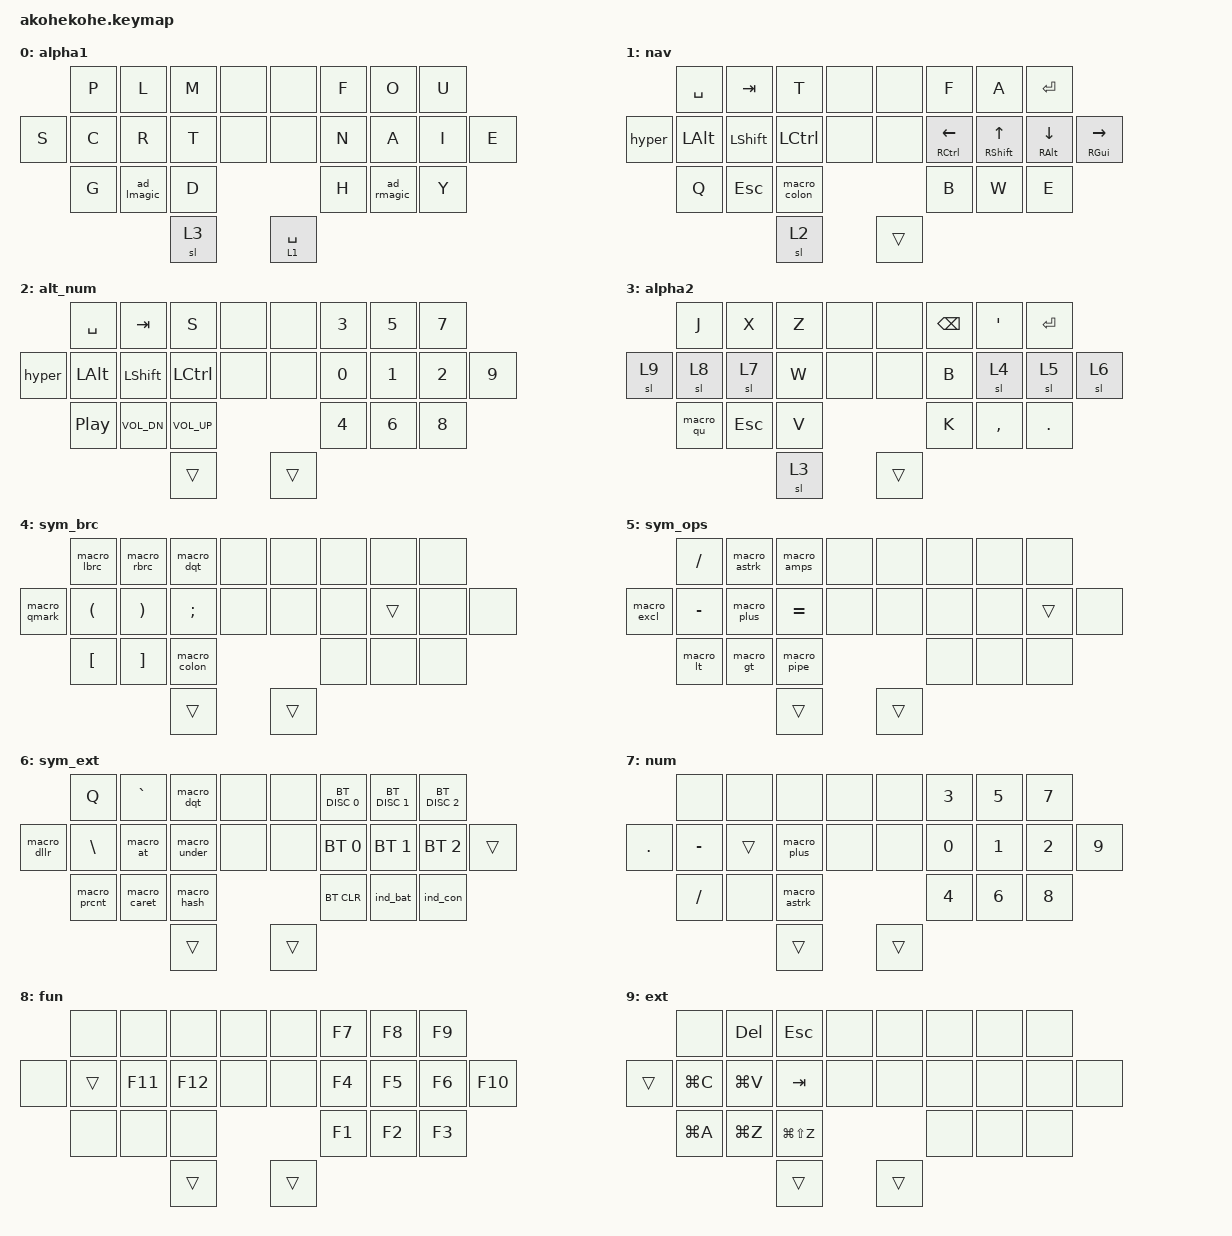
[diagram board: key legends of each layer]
/*
 * Copyright (c) 2024 The ZMK Contributors
 *
 * SPDX-License-Identifier: MIT
 */

#include <behaviors.dtsi>
#include <dt-bindings/zmk/bt.h>
#include <dt-bindings/zmk/keys.h>
#include <dt-bindings/zmk/outputs.h>
#include <behaviors/rgbled_widget.dtsi>

&soft_off { hold-time-ms = <1000>; };
&sl { release-after-ms = <350>; };
&sk { release-after-ms = <350>; quick-release; };
&caps_word { continue-list = <UNDER MINUS BSPC DEL>; };

/ {
    combos {
        compatible = "zmk,combos";
        timeout-ms = <50>;

        lbspc {
            key-positions = <11 20>;
            bindings = <&kp BSPC>;
        };

        lent {
            key-positions = <10 19>;
            bindings = <&kp ENTER>;
        };

        lgui {
            key-positions = <9 18>;
            bindings = <&kp LGUI>;
        };

        lalt {
            key-positions = <0 9>;
            bindings = <&sk LALT>;
        };

        lsft {
            key-positions = <1 10>;
            bindings = <&sk LSHFT>;
        };

        lctl {
            key-positions = <2 11>;
            bindings = <&sk LCTRL>;
        };

        rctl {
            key-positions = <5 14>;
            bindings = <&sk RCTRL>;
        };

        rsft {
            key-positions = <6 15>;
            bindings = <&sk RSHFT>;
        };

        ralt {
            key-positions = <7 16>;
            bindings = <&sk RALT>;
        };

        rgui {
            key-positions = <16 23>;
            bindings = <&kp RGUI>;
        };

        rent {
            key-positions = <15 22>;
            bindings = <&kp ENTER>;
        };

        rbspc {
            key-positions = <14 21>;
            bindings = <&kp BSPC>;
        };

        capsword {
            key-positions = <10 11 14 15>;
            bindings = <&caps_word>;
        };

        boot {
            key-positions = <0 2 5 7>;
            bindings = <&bootloader>;
        };

        soft_off {
            key-positions = <18 20 21 23>;
            bindings = <&soft_off>;
        };

        alt_num {
            key-positions = <24 25>;
            bindings = <&sl 2>;
            slow-release;
        };
    };

    macros {
        macro_qu: qu {
            compatible = "zmk,behavior-macro";
            #binding-cells = <0>;
            bindings = <&kp Q &kp U>;
        };

        macro_able: able {
            compatible = "zmk,behavior-macro";
            #binding-cells = <0>;
            bindings = <&kp B &kp L &kp E>;
        };

        macro_ion: ion {
            compatible = "zmk,behavior-macro";
            #binding-cells = <0>;
            bindings = <&kp O &kp N>;
        };

        macro_ing: ing {
            compatible = "zmk,behavior-macro";
            #binding-cells = <0>;
            bindings = <&kp N &kp G>;
        };

        macro_you: you {
            compatible = "zmk,behavior-macro";
            #binding-cells = <0>;
            bindings = <&kp O &kp U>;
        };

        macro_ying: ying {
            compatible = "zmk,behavior-macro";
            #binding-cells = <0>;
            bindings = <&kp I &kp N &kp G>;
        };

        macro_would: would {
            compatible = "zmk,behavior-macro";
            #binding-cells = <0>;
            bindings = <&kp O &kp U &kp L &kp D>;
        };

        macro_the: _the {
            compatible = "zmk,behavior-macro";
            #binding-cells = <0>;
            bindings = <&kp T &kp H &kp E>;
        };

        macro_for: _for {
            compatible = "zmk,behavior-macro";
            #binding-cells = <0>;
            bindings = <&kp F &kp O &kp R>;
        };

        hyper: hyper_mods {
            compatible = "zmk,behavior-macro";
            #binding-cells = <0>;
            bindings =
                <&macro_press &kp RCTRL &kp RSHFT &kp RALT &kp RGUI>,
                <&macro_pause_for_release>,
                <&macro_release &kp RGUI &kp RALT &kp RSHFT &kp RCTRL>;
        };

        macro_colon: colon {
            compatible = "zmk,behavior-macro";
            #binding-cells = <0>;
            bindings =
                <&macro_press &kp LSHFT>,
                <&macro_tap &kp SEMI>,
                <&macro_release &kp LSHFT>;
        };

        macro_qmark: qmark {
            compatible = "zmk,behavior-macro";
            #binding-cells = <0>;
            bindings =
                <&macro_press &kp LSHFT>,
                <&macro_tap &kp SLASH>,
                <&macro_release &kp LSHFT>;
        };

        macro_excl: excl {
            compatible = "zmk,behavior-macro";
            #binding-cells = <0>;
            bindings =
                <&macro_press &kp LSHFT>,
                <&macro_tap &kp N1>,
                <&macro_release &kp LSHFT>;
        };

        macro_dqt: dqt {
            compatible = "zmk,behavior-macro";
            #binding-cells = <0>;
            bindings =
                <&macro_press &kp LSHFT>,
                <&macro_tap &kp SQT>,
                <&macro_release &kp LSHFT>;
        };

        macro_astrk: astrk {
            compatible = "zmk,behavior-macro";
            #binding-cells = <0>;
            bindings =
                <&macro_press &kp LSHFT>,
                <&macro_tap &kp N8>,
                <&macro_release &kp LSHFT>;
        };

        macro_amps: amps {
            compatible = "zmk,behavior-macro";
            #binding-cells = <0>;
            bindings =
                <&macro_press &kp LSHFT>,
                <&macro_tap &kp N7>,
                <&macro_release &kp LSHFT>;
        };

        macro_plus: plus {
            compatible = "zmk,behavior-macro";
            #binding-cells = <0>;
            bindings =
                <&macro_press &kp LSHFT>,
                <&macro_tap &kp EQUAL>,
                <&macro_release &kp LSHFT>;
        };

        macro_lt: lt {
            compatible = "zmk,behavior-macro";
            #binding-cells = <0>;
            bindings =
                <&macro_press &kp LSHFT>,
                <&macro_tap &kp COMMA>,
                <&macro_release &kp LSHFT>;
        };

        macro_gt: gt {
            compatible = "zmk,behavior-macro";
            #binding-cells = <0>;
            bindings =
                <&macro_press &kp LSHFT>,
                <&macro_tap &kp DOT>,
                <&macro_release &kp LSHFT>;
        };

        macro_pipe: pipe {
            compatible = "zmk,behavior-macro";
            #binding-cells = <0>;
            bindings =
                <&macro_press &kp LSHFT>,
                <&macro_tap &kp BSLH>,
                <&macro_release &kp LSHFT>;
        };

        macro_dllr: dllr {
            compatible = "zmk,behavior-macro";
            #binding-cells = <0>;
            bindings =
                <&macro_press &kp LSHFT>,
                <&macro_tap &kp N4>,
                <&macro_release &kp LSHFT>;
        };

        macro_at: at {
            compatible = "zmk,behavior-macro";
            #binding-cells = <0>;
            bindings =
                <&macro_press &kp LSHFT>,
                <&macro_tap &kp N2>,
                <&macro_release &kp LSHFT>;
        };

        macro_under: under {
            compatible = "zmk,behavior-macro";
            #binding-cells = <0>;
            bindings =
                <&macro_press &kp LSHFT>,
                <&macro_tap &kp MINUS>,
                <&macro_release &kp LSHFT>;
        };

        macro_prcnt: prcnt {
            compatible = "zmk,behavior-macro";
            #binding-cells = <0>;
            bindings =
                <&macro_press &kp LSHFT>,
                <&macro_tap &kp N5>,
                <&macro_release &kp LSHFT>;
        };

        macro_caret: caret {
            compatible = "zmk,behavior-macro";
            #binding-cells = <0>;
            bindings =
                <&macro_press &kp LSHFT>,
                <&macro_tap &kp N6>,
                <&macro_release &kp LSHFT>;
        };

        macro_hash: hash {
            compatible = "zmk,behavior-macro";
            #binding-cells = <0>;
            bindings =
                <&macro_press &kp LSHFT>,
                <&macro_tap &kp N3>,
                <&macro_release &kp LSHFT>;
        };

        macro_lbrc: lbrc {
            compatible = "zmk,behavior-macro";
            #binding-cells = <0>;
            bindings =
                <&macro_press &kp LSHFT>,
                <&macro_tap &kp LBKT>,
                <&macro_release &kp LSHFT>;
        };

        macro_rbrc: rbrc {
            compatible = "zmk,behavior-macro";
            #binding-cells = <0>;
            bindings =
                <&macro_press &kp LSHFT>,
                <&macro_tap &kp RBKT>,
                <&macro_release &kp LSHFT>;
        };
    };

    behaviors {
        ad_lmagic: adaptive_magic_left {
            compatible = "zmk,behavior-antecedent-morph";
            #binding-cells = <0>;
            defaults = <&key_repeat>;
            antecedents = <A C K E D U Y I N SPACE>;
            bindings = <&macro_able>, <&kp K>, <&kp N>, <&kp Y>, <&kp M>, <&kp Y>, <&macro_ying>, <&macro_ion>, <&kp F>, <&macro_for>;
        };

        ad_rmagic: adaptive_magic_right {
            compatible = "zmk,behavior-antecedent-morph";
            #binding-cells = <0>;
            defaults = <&key_repeat>;
            antecedents = <DOT I Y R W SPACE>;
            bindings = <&kp SLASH>, <&macro_ing>, <&macro_you>, <&kp L>, <&macro_would>, <&macro_the>;
        };

        bmt: better_mod_tap {
            compatible = "zmk,behavior-hold-tap";
            #binding-cells = <2>;
            flavor = "hold-preferred";
            quick-tap-ms = <150>;
            tapping-term-ms = <200>;
            bindings = <&kp>, <&kp>;
            hold-trigger-key-positions = <0 1 2 8 9 10 11 18 19 20 24>;
            display-name = "Better Mod-Tap";
            require-prior-idle-ms = <200>;
        };

        blt: better_layer_tap {
            compatible = "zmk,behavior-hold-tap";
            #binding-cells = <2>;
            flavor = "tap-preferred";
            tapping-term-ms = <150>;
            bindings = <&mo>, <&kp>;
            display-name = "Better Layer-Tap";
        };
    };

    keymap {
        compatible = "zmk,keymap";

        alpha1 {
            bindings = <
                    &kp P           &kp L           &kp M           &none   &none           &kp F           &kp O           &kp U
        &kp S       &kp C           &kp R           &kp T           &none   &none           &kp N           &kp A           &kp I           &kp E
                    &kp G           &ad_lmagic      &kp D                                   &kp H           &ad_rmagic      &kp Y
                                                            &sl 3                   &blt 1 SPACE
            >;
        };

        nav {
            bindings = <
                    &kp SPACE       &kp TAB         &kp T           &none   &none           &kp F           &kp A           &kp ENTER
        &hyper      &kp LALT        &kp LSHIFT      &kp LCTRL       &none   &none           &bmt RCTRL LEFT &bmt RSHFT UP  &bmt RALT DOWN   &bmt RGUI RIGHT
                    &kp Q           &kp ESC         &macro_colon                            &kp B           &kp W           &kp E
                                                            &sl 2                   &trans
            >;
        };

        alt_num {
            bindings = <
                    &kp SPACE       &kp TAB         &kp S           &none   &none           &kp N3          &kp N5          &kp N7
        &hyper      &kp LALT        &kp LSHIFT      &kp LCTRL       &none   &none           &kp N0          &kp N1          &kp N2          &kp N9
                    &kp C_PP        &kp C_VOL_DN    &kp C_VOL_UP                            &kp N4          &kp N6          &kp N8
                                                            &trans                  &trans
            >;
        };

        alpha2 {
            bindings = <
                    &kp J           &kp X           &kp Z           &none   &none           &kp BSPC        &kp SQT         &kp ENTER
        &sl 9       &sl 8           &sl 7           &kp W           &none   &none           &kp B           &sl 4           &sl 5           &sl 6
                    &macro_qu       &kp ESC         &kp V                                   &kp K           &kp COMMA       &kp DOT
                                                            &sl 3                   &trans
            >;
        };

        sym_brc {
            bindings = <
                    &macro_lbrc     &macro_rbrc     &macro_dqt      &none   &none           &none           &none           &none
        &macro_qmark &kp LPAR        &kp RPAR        &kp SEMI        &none   &none           &none           &trans          &none           &none
                    &kp LBKT        &kp RBKT        &macro_colon                            &none           &none           &none
                                                            &trans                  &trans
            >;
        };

        sym_ops {
            bindings = <
                    &kp SLASH       &macro_astrk    &macro_amps     &none   &none           &none           &none           &none
        &macro_excl &kp MINUS       &macro_plus     &kp EQUAL       &none   &none           &none           &none           &trans          &none
                    &macro_lt       &macro_gt       &macro_pipe                             &none           &none           &none
                                                            &trans                  &trans
            >;
        };

        sym_ext {
            bindings = <
                    &kp Q           &kp GRAVE       &macro_dqt      &none   &none           &bt BT_DISC 0   &bt BT_DISC 1   &bt BT_DISC 2
        &macro_dllr &kp BSLH        &macro_at       &macro_under    &none   &none           &bt BT_SEL 0    &bt BT_SEL 1    &bt BT_SEL 2    &trans
                    &macro_prcnt    &macro_caret    &macro_hash                             &bt BT_CLR      &ind_bat        &ind_con
                                                            &trans                  &trans
            >;
        };

        num {
            bindings = <
                    &none           &none           &none           &none   &none           &kp N3          &kp N5          &kp N7
        &kp DOT     &kp MINUS       &trans          &macro_plus     &none   &none           &kp N0          &kp N1          &kp N2          &kp N9
                    &kp SLASH       &none           &macro_astrk                            &kp N4          &kp N6          &kp N8
                                                            &trans                  &trans
            >;
        };

        fun {
            bindings = <
                    &none           &none           &none           &none   &none           &kp F7          &kp F8          &kp F9
        &none       &trans          &kp F11         &kp F12         &none   &none           &kp F4          &kp F5          &kp F6          &kp F10
                    &none           &none           &none                                   &kp F1          &kp F2          &kp F3
                                                            &trans                  &trans
            >;
        };

        ext {
            bindings = <
                    &none           &kp DEL         &kp ESC         &none   &none           &none           &none           &none
        &trans      &kp LG(C)       &kp LG(V)       &kp TAB         &none   &none           &none           &none           &none           &none
                    &kp LG(A)       &kp LG(Z)       &kp LG(LS(Z))                           &none           &none           &none
                                                            &trans                  &trans
            >;
        };
    };
};
